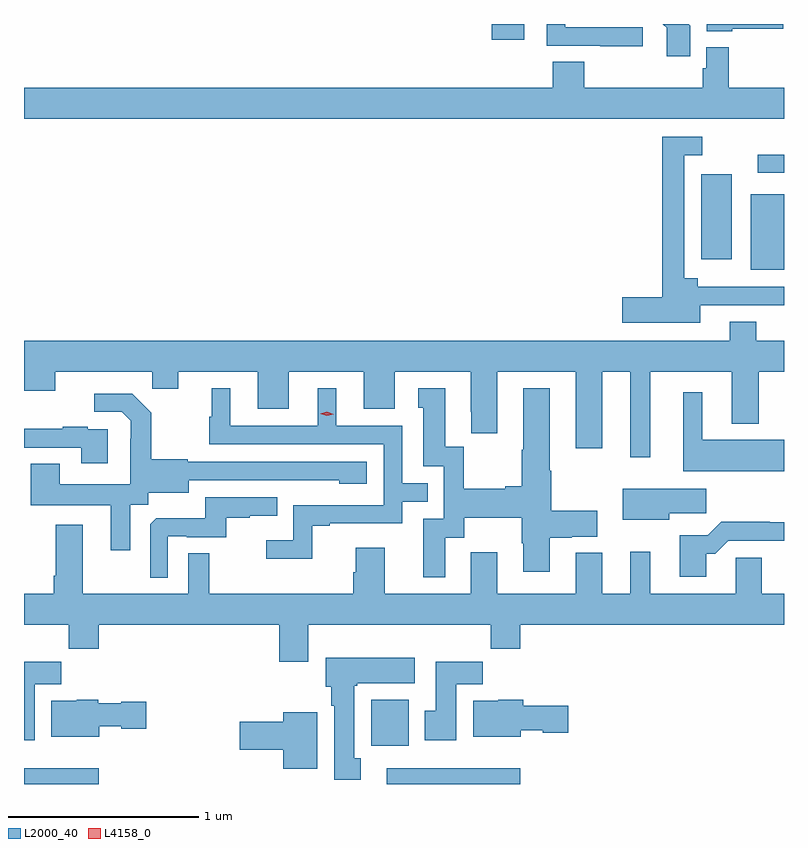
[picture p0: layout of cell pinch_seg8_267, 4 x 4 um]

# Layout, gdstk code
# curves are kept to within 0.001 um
import gdstk
lib = gdstk.Library(unit=1e-6, precision=1e-09)
def R(c, l, rs):  # rectangles x0, y0, x1, y1
    for r in rs: c.add(gdstk.rectangle(r[:2], r[2:], *l))
def P(c, l, *ps):  # polygons
    for p in ps: c.add(gdstk.Polygon(p, *l))
L2000_40 = (2000, 40)
L4158_0 = (4158, 0)

pinch_seg8_267 = lib.new_cell('pinch_seg8_267')
R(pinch_seg8_267, L2000_40, [(495.647,1156.955,496.04,1157.038), (497.555,1156.955,498.26,1157.038), (497.474,1157.156,497.671,1157.398), (499.472,1159.661,499.647,1160.059), (499.211,1159.716,499.372,1160.164), (499.509,1160.172,499.647,1160.268), (498.11,1160.871,498.28,1160.955)])
P(pinch_seg8_267, L2000_40, [(499.154,1160.946),(499.145,1160.955),(499.009,1160.955),(499.029,1160.935),(499.029,1160.784),(499.154,1160.784)],
  [(499.374,1160.929),(499.642,1160.929),(499.642,1160.955),(499.241,1160.955),(499.241,1160.918),(499.374,1160.918)],
  [(498.904,1160.937),(498.495,1160.937),(498.495,1160.955),(498.399,1160.955),(498.399,1160.841),(498.679,1160.841),(498.679,1160.839),(498.904,1160.839)],
  [(499.647,1160.62),(499.355,1160.62),(499.355,1160.833),(499.239,1160.833),(499.239,1160.721),(499.219,1160.721),(499.219,1160.62),(498.596,1160.62),(498.596,1160.756),(498.431,1160.756),(498.431,1160.62),(495.647,1160.62),(495.647,1160.456),(499.647,1160.456)],
  [(499.207,1159.476),(499.647,1159.476),(499.647,1159.572),(499.192,1159.572),(499.192,1159.618),(499.122,1159.618),(499.122,1160.265),(499.216,1160.265),(499.216,1160.361),(499.006,1160.361),(499.006,1159.517),(498.795,1159.517),(498.795,1159.382),(499.207,1159.382)],
  [(495.647,1159.025),(495.811,1159.025),(495.811,1159.124),(496.321,1159.124),(496.321,1159.034),(496.459,1159.034),(496.459,1159.124),(496.877,1159.124),(496.877,1158.93),(497.041,1158.93),(497.041,1159.124),(497.435,1159.124),(497.435,1158.93),(497.599,1158.93),(497.599,1159.124),(497.999,1159.124),(497.999,1158.913),(498.002,1158.913),(498.002,1158.801),(498.139,1158.801),(498.139,1159.124),(498.551,1159.124),(498.551,1158.723),(498.691,1158.723),(498.691,1159.124),(498.839,1159.124),(498.839,1158.675),(498.943,1158.675),(498.943,1159.124),(499.373,1159.124),(499.373,1158.851),(499.513,1158.851),(499.513,1159.124),(499.647,1159.124),(499.647,1159.288),(499.501,1159.288),(499.501,1159.387),(499.361,1159.387),(499.361,1159.288),(495.647,1159.288)],
  [(497.163,1158.315),(497.257,1158.315),(497.257,1158.327),(497.637,1158.327),(497.637,1158.441),(497.771,1158.441),(497.771,1158.537),(497.637,1158.537),(497.637,1158.84),(497.29,1158.84),(497.29,1159.039),(497.192,1159.039),(497.192,1158.84),(496.732,1158.84),(496.732,1159.039),(496.634,1159.039),(496.634,1158.888),(496.623,1158.888),(496.623,1158.744),(497.541,1158.744),(497.541,1158.423),(497.064,1158.423),(497.064,1158.238),(496.923,1158.238),(496.923,1158.14),(497.163,1158.14)],
  [(497.863,1158.25),(497.965,1158.25),(497.965,1158.356),(498.268,1158.356),(498.268,1158.222),(498.275,1158.222),(498.275,1158.072),(498.415,1158.072),(498.415,1158.25),(498.531,1158.25),(498.531,1158.257),(498.664,1158.257),(498.664,1158.392),(498.423,1158.392),(498.423,1158.604),(498.415,1158.604),(498.415,1159.039),(498.275,1159.039),(498.275,1158.713),(498.268,1158.713),(498.268,1158.521),(498.179,1158.521),(498.179,1158.508),(497.961,1158.508),(497.961,1158.731),(497.863,1158.731),(497.863,1159.039),(497.723,1159.039),(497.723,1158.936),(497.747,1158.936),(497.747,1158.627),(497.856,1158.627),(497.856,1158.351),(497.747,1158.351),(497.747,1158.042),(497.863,1158.042)],
  [(499.647,1158.766),(499.216,1158.766),(499.216,1159.018),(499.118,1159.018),(499.118,1158.602),(499.647,1158.602)],
  [(496.207,1158.424),(496.302,1158.424),(496.302,1158.488),(496.513,1158.488),(496.513,1158.555),(497.307,1158.554),(497.307,1158.536),(497.452,1158.536),(497.452,1158.651),(496.509,1158.651),(496.509,1158.664),(496.317,1158.664),(496.317,1158.909),(496.217,1159.009),(496.017,1159.009),(496.017,1158.915),(496.161,1158.915),(496.208,1158.868),(496.208,1158.773),(496.206,1158.773),(496.206,1158.532),(495.835,1158.532),(495.835,1158.641),(495.683,1158.641),(495.683,1158.422),(496.103,1158.422),(496.103,1158.186),(496.207,1158.186)],
  [(496.087,1158.822),(495.983,1158.822),(495.983,1158.835),(495.851,1158.835),(495.851,1158.824),(495.647,1158.824),(495.647,1158.726),(495.947,1158.726),(495.947,1158.642),(496.087,1158.642)],
  [(499.042,1158.379),(499.237,1158.379),(499.237,1158.508),(498.798,1158.508),(498.798,1158.347),(499.042,1158.347)],
  [(496.404,1158.258),(496.504,1158.258),(496.504,1158.255),(496.712,1158.255),(496.712,1158.357),(496.835,1158.357),(496.835,1158.368),(496.979,1158.368),(496.979,1158.465),(496.602,1158.465),(496.602,1158.353),(496.343,1158.353),(496.311,1158.321),(496.311,1158.041),(496.404,1158.041)],
  [(499.237,1158.167),(499.286,1158.167),(499.353,1158.234),(499.647,1158.234),(499.647,1158.332),(499.571,1158.332),(499.571,1158.335),(499.316,1158.335),(499.246,1158.265),(499.097,1158.265),(499.097,1158.045),(499.237,1158.045)],
  [(497.143,1157.792),(498.103,1157.792),(498.103,1157.668),(498.26,1157.668),(498.26,1157.792),(499.647,1157.792),(499.647,1157.956),(499.531,1157.956),(499.531,1158.146),(499.392,1158.146),(499.392,1157.956),(498.943,1157.956),(498.943,1158.178),(498.839,1158.178),(498.839,1157.956),(498.691,1157.956),(498.691,1158.172),(498.551,1158.172),(498.551,1157.956),(498.139,1157.956),(498.139,1158.175),(497.999,1158.175),(497.999,1157.956),(497.545,1157.956),(497.545,1158.199),(497.393,1158.199),(497.393,1158.069),(497.381,1158.069),(497.381,1157.956),(496.621,1157.956),(496.621,1158.17),(496.512,1158.17),(496.512,1157.956),(495.955,1157.956),(495.955,1158.319),(495.815,1158.319),(495.815,1158.052),(495.803,1158.052),(495.803,1157.956),(495.647,1157.956),(495.647,1157.792),(495.883,1157.792),(495.883,1157.668),(496.04,1157.668),(496.04,1157.792),(496.991,1157.792),(496.991,1157.598),(497.143,1157.598)],
  [(497.419,1157.09),(497.386,1157.09),(497.386,1157.473),(497.4,1157.473),(497.4,1157.486),(497.704,1157.486),(497.704,1157.62),(497.234,1157.62),(497.234,1157.466),(497.264,1157.466),(497.264,1157.366),(497.279,1157.366),(497.279,1156.977),(497.419,1156.977)],
  [(497.923,1157.48),(498.062,1157.48),(498.062,1157.599),(497.813,1157.599),(497.813,1157.34),(497.756,1157.34),(497.756,1157.184),(497.923,1157.184)],
  [(495.703,1157.48),(495.842,1157.48),(495.842,1157.599),(495.647,1157.599),(495.647,1157.184),(495.703,1157.184)],
  [(498.262,1157.237),(498.378,1157.237),(498.378,1157.225),(498.511,1157.225),(498.511,1157.367),(498.275,1157.367),(498.275,1157.398),(498.144,1157.398),(498.144,1157.392),(498.011,1157.392),(498.011,1157.204),(498.262,1157.204)],
  [(496.042,1157.258),(496.158,1157.258),(496.158,1157.246),(496.291,1157.246),(496.291,1157.388),(496.158,1157.388),(496.158,1157.38),(496.038,1157.38),(496.038,1157.398),(495.924,1157.398),(495.924,1157.392),(495.791,1157.392),(495.791,1157.204),(496.042,1157.204)],
  [(497.191,1157.332),(497.012,1157.332),(497.012,1157.282),(496.782,1157.282),(496.782,1157.135),(497.012,1157.135),(497.012,1157.036),(497.191,1157.036)])
P(pinch_seg8_267, L4158_0, [(497.241,1158.893),(497.206,1158.904),(497.205,1158.904),(497.206,1158.904),(497.241,1158.913),(497.276,1158.902),(497.277,1158.902),(497.276,1158.902)])

lib.write_gds('pinch_seg8_267.gds')
